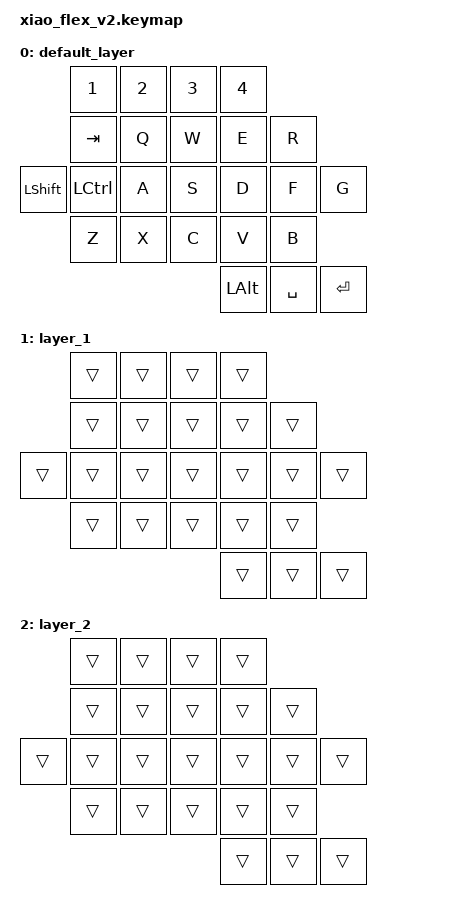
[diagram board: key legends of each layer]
/*
 * Copyright (c) 2020 The ZMK Contributors
 *
 * SPDX-License-Identifier: MIT
 */

#include <behaviors.dtsi>
#include <dt-bindings/zmk/keys.h>

/ {
    keymap {
        compatible = "zmk,keymap";

        default_layer {
            bindings = <
           &kp N1     &kp N2  &kp N3  &kp N4
           &kp TAB    &kp Q   &kp W   &kp E     &kp R
&kp LSHFT  &kp LCTRL  &kp A   &kp S   &kp D     &kp F      &kp G
           &kp Z      &kp X   &kp C   &kp V     &kp B
                                      &kp LALT  &kp SPACE  &kp RET
            >;
        };

        layer_1 {
            bindings = <
        &trans  &trans  &trans  &trans
        &trans  &trans  &trans  &trans  &trans
&trans  &trans  &trans  &trans  &trans  &trans  &trans
        &trans  &trans  &trans  &trans  &trans
                                &trans  &trans  &trans
            >;
        };

        layer_2 {
            bindings = <
        &trans  &trans  &trans  &trans
        &trans  &trans  &trans  &trans  &trans
&trans  &trans  &trans  &trans  &trans  &trans  &trans
        &trans  &trans  &trans  &trans  &trans
                                &trans  &trans  &trans
            >;
        };
    };
};
